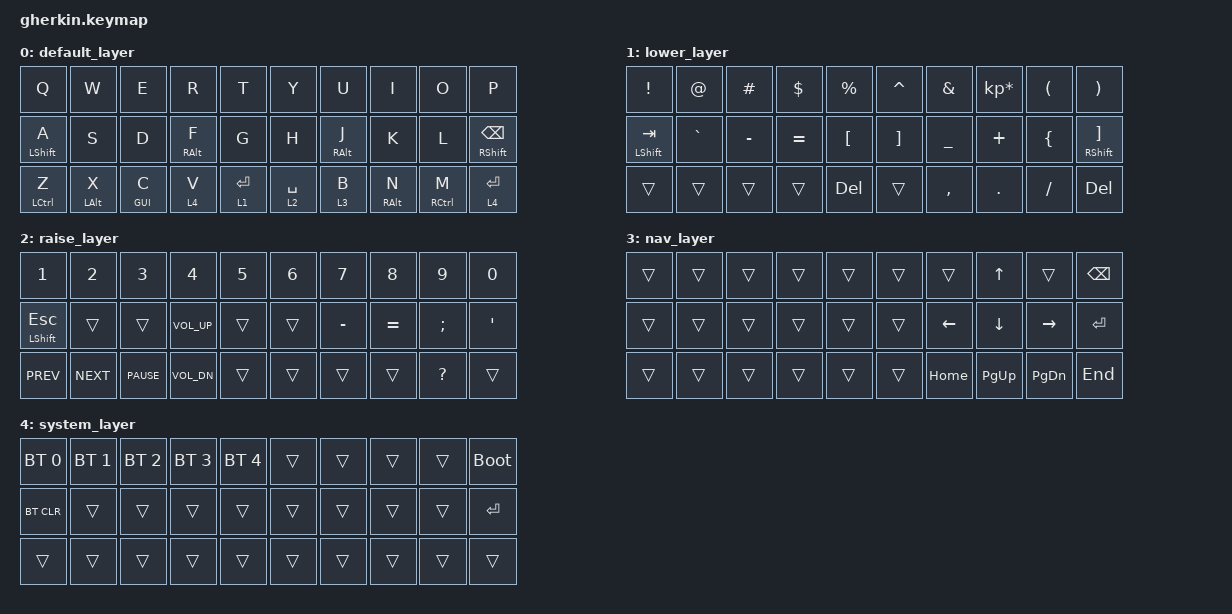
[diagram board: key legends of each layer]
/*
 * Copyright (c) 2020 The ZMK Contributors
 *
 * SPDX-License-Identifier: MIT
 */

#include <behaviors.dtsi>
#include <dt-bindings/zmk/keys.h>
#include <dt-bindings/zmk/bt.h>


&lt {
    flavor = "balanced";
    tapping-term-ms = <225>;
};

&mt {
    flavor = "balanced";
    tapping-term-ms = <225>;
};

/ {
    behaviors {
        hm: homerow_mods {
            compatible = "zmk,behavior-hold-tap";
            label = "homerow mods";
            #binding-cells = <2>;
            tapping-term-ms = <225>;
            flavor = "tap-preferred";
            bindings = <&kp>, <&kp>;
        };
    };

    keymap {
        compatible = "zmk,keymap";

        default_layer {
            //   Qwerty Home Layer
            // ----------------------------------------------------------------------,
            // |   Q  |   W  |   E  |   R  |   T  |   Y  |   U  |   I  |   O  |   P  |
            // |      |      |      |      |      |      |      |      |      |      |
            // |------+------+------+------+-------------+------+------+------+------|
            // |   A  |   S  |   D  |   F  |   G  |   H  |   J  |   K  |   L  | Backs|
            // | Shift| SysL |      | AltGr|      |      | AltGr|      |      | Shift|
            // '------+------+------+------+------+------|------+------+------+------'    
            // |   Z  |   X  |   C  |   V  |Enter |Space |   B  |   N  |   M  | Enter|
            // | Ctrl |  Alt | Cmd  | FunL |Lower |Raise | Nav  |  Alt | Ctrl | SysL |
            // '---------------------------------------------------------------------'       
            //
            bindings = <&kp Q &kp W &kp E &kp R &kp T &kp Y &kp U &kp I &kp O &kp P 
                        &mt LSHFT A &kp S &kp D &hm RALT F &kp G &kp H &hm RALT J &kp K &kp L &mt RSHFT BSPC 
                        &mt LCTRL Z &mt LALT X &mt GUI C &lt 4 V &lt 1 RET &lt 2 SPACE &lt 3 B &mt RALT N &mt RCTL M &lt 4 RET
                        >;
        };

        lower_layer {
            // Lower
            // ,---------------------------------------------------------------------.
            // |   !  |   @  |   #  |   $  |   %  |   ^  |   &  |   *  |   (  |   )  |
            // |      |      |      |      |      |      |      |      |      |      |
            // |------+------+------+------+-------------+------+------+------+------|
            // |  TAB |   `  |   -  |   =  |   [  |   ]  |  _   |   +  |   {  |   }  |
            // | Shift|      |      | AltGr|      |      | AltGr|SysLay|      | Shift|
            // ' -----+------+------+------+------+------|------+------+------+------'
            // |      |      |      |      |      |      |   <  |   >  |   ?  |      | 
            // |      |      |      |      |      |      |   ,  |   .  |   /  | Del  |
            // |      |      |      |      |      |      |  Alt | Ctrl | Shift| Shift|
            // ----------------------------------------------------------------------'      
            bindings =
                <&kp EXCL   &kp AT  &kp HASH    &kp DLLR    &kp PRCNT   &kp CARET   &kp AMPS        &kp KP_MULTIPLY &kp LPAR    &kp RPAR
                 &mt LSHFT TAB     &kp GRAVE  &kp MINUS      &kp EQL      &kp LBKT    &kp RBKT    &kp UNDERSCORE  &kp PLUS        &kp LBRC      &mt RSHFT RBKT
                 &trans     &trans  &trans      &trans      &kp DEL     &trans      &kp COMMA          &kp DOT      &kp SLASH      &kp DEL
                 >;
        };

        raise_layer {
            // Raise
            // ,---------------------------------------------------------------------.
            // |   !  |   @  |   #  |   $  |   %  |   ^  |   &  |   *  |   (  |   )  |
            // |   1  |   2  |   3  |   4  |   5  |   6  |   7  |   8  |   9  |   0  |
            // |      |      |      |      |      |      |      |  Alt | Ctrl | Shift|
            // |------+------+------+------+-------------+------+------+------+------|
            // |  Esc |      |      | Vol+ |      |   ;  |   -  |   =  |   ;  | '    |
            // | Shift|      |      |      |      |      |      |      |      |      |
            // ' -----+------+------+------+------+------|------+------+------+------'       
            // | Prev | Next | Pause| Vol- | Enter|      |   ,  |   .  |   ?  | Enter|
            // |      |      |      |      |SysLay|      |      |      |      |      |
            // ----------------------------------------------------------------------'       
            //
            bindings = <&kp N1 &kp N2 &kp N3 &kp N4 &kp N5 &kp N6 &kp N7 &kp N8 &kp N9 &kp N0
                        &mt LSHFT ESC &trans &trans &kp C_VOL_UP &trans &trans &kp MINUS &kp EQL &kp SEMI &kp SQT
                        &kp C_PREV &kp C_NEXT &kp C_PAUSE &kp C_VOL_DN &trans &trans &trans &trans &kp QMARK &trans
                        >;
        };

        nav_layer {
            // ArrowPad
            // ,---------------------------------------------------------------------.
            // |      |      |      |      |      |      |PrevW |  Up  | NextW|Backsp|
            // |      |      |      |      |      |      |      |      |      |      |
            // |------+------+------+------+-------------+------+------+------+------|
            // |      |      |      |      |      |      | Left | Down | Right| Enter|
            // |      |      |      |      |      |      |      |      |      |      |
            // '------+------+------+------+------+------|------+------+------+------'        
            // |      |      |      |      |      |      | Home | PgUp | PgDn | End  |
            // |      |      |      |      |      |      |      |      |      |      |
            // `---------------------------------------------------------------------'  
            bindings = 
                <&trans &trans &trans &trans &trans &trans &trans &kp UP &trans &kp BSPC
                 &trans &trans &trans &trans &trans &trans &kp LEFT &kp DOWN &kp RIGHT &kp RET
                 &trans &trans &trans &trans &trans &trans &kp HOME &kp PG_UP &kp PG_DN &kp END
                 >;
        };
        
        system_layer {
            // System Layer
            // ,---------------------------------------------------------------------.
            // |  BT0 | BT1  | BT2  | BT3  |      |      |      |      |      |RESET |
            // |      |      |      |      |      |      |      |      |      |      |
            // |------+------+------+------+-------------+------+------+------+------|
            // |CLEAR |      |      |      |      |      |      |      |      |      |
            // |      |      |      |      |      |      |      |      |      |      |
            // '------+------+------+------+------+------|------+------+------+------'      
            // |      |      |      |      |      |      |      |      |      |      | 
            // |      |      |      |      |      |      |      |      |      |      |       
            // '---------------------------------------------------------------------'  
            bindings = 
                <&bt BT_SEL 0 &bt BT_SEL 1 &bt BT_SEL 2 &bt BT_SEL 3 &bt BT_SEL 4 &trans &trans &trans &trans &bootloader
                 &bt BT_CLR &trans &trans &trans &trans &trans &trans &trans &trans &kp RET
                 &trans &trans &trans &trans &trans &trans &trans &trans &trans &trans
                 >;
        };
        
    };
};
